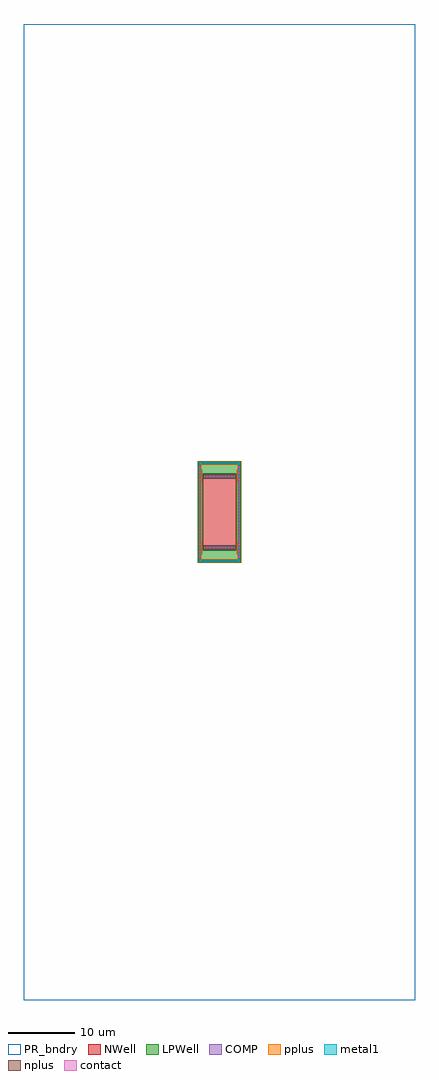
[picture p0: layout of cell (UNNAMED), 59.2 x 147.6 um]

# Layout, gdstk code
import gdstk
lib = gdstk.Library(unit=1e-6, precision=1e-09)
def R(c, l, rs):  # rectangles x0, y0, x1, y1
    for r in rs: c.add(gdstk.rectangle(r[:2], r[2:], *l))
def A(c, l, x, y, w, h, nx, ny, dx, dy):  # array of equal rectangles
    R(c, l, [(x+i*dx, y+j*dy, x+i*dx+w, y+j*dy+h) for i in range(nx) for j in range(ny)])
PR_bndry = (0, 0)
NWell = (21, 0)
COMP = (22, 0)
pplus = (31, 0)
nplus = (32, 0)
contact = (33, 0)
metal1 = (34, 0)
LPWell = (204, 0)

c__unnamed_ = lib.new_cell('(UNNAMED)')
R(c__unnamed_, PR_bndry, [(-29.6,-73.8,29.6,73.8)])
R(c__unnamed_, NWell, [(-2.5,-5.8,2.5,5.8)])
R(c__unnamed_, COMP, [(-3.14,-7.56,3.14,-7.2), (-3.14,-7.2,-2.78,7.2), (2.78,-7.2,3.14,7.2), (-2.26,-5.56,2.26,-5.2), (-2.26,5.2,2.26,5.56), (-3.14,7.2,3.14,7.56)])
R(c__unnamed_, pplus, [(-3.16,-7.58,3.16,-7.18), (-3.16,-7.18,-2.75,-7.075), (2.75,-7.18,3.16,-7.075), (-3.17,-7.075,-2.75,-6.39), (2.75,-7.075,3.17,-6.39), (-3.17,-6.39,-2.62,-4.41), (2.62,-6.39,3.17,-4.41), (-3.17,-4.41,-2.75,4.41), (2.75,-4.41,3.17,4.41), (-3.17,4.41,-2.62,6.39), (2.62,4.41,3.17,6.39), (-3.17,6.39,-2.75,7.075), (2.75,6.39,3.17,7.075), (-3.16,7.075,-2.75,7.18), (2.75,7.075,3.16,7.18), (-3.16,7.18,3.16,7.58)])
R(c__unnamed_, nplus, [(-2.42,-5.72,2.42,-5.04), (-2.42,5.04,2.42,5.72)])
A(c__unnamed_, contact, -3.07, -6.925, 0.22, 0.22, 1, 30, 0, 0.47)
A(c__unnamed_, contact, 2.85, -6.925, 0.22, 0.22, 1, 30, 0, 0.47)
A(c__unnamed_, contact, -1.99, -5.49, 0.22, 0.22, 9, 2, 0.47, 10.76)
R(c__unnamed_, metal1, [(-3.075,-7.495,3.075,-7.265), (-3.075,-7.265,-2.845,7.265), (2.845,-7.265,3.075,7.265), (-2.25,-5.495,2.25,-5.265), (-2.25,5.265,2.25,5.495), (-3.075,7.265,3.075,7.495)])
R(c__unnamed_, LPWell, [(-3.26,-7.68,3.26,-5.8), (-3.26,-5.8,-2.5,5.8), (2.5,-5.8,3.26,5.8), (-3.26,5.8,3.26,7.68)])

lib.write_gds('_UNNAMED_.gds')
